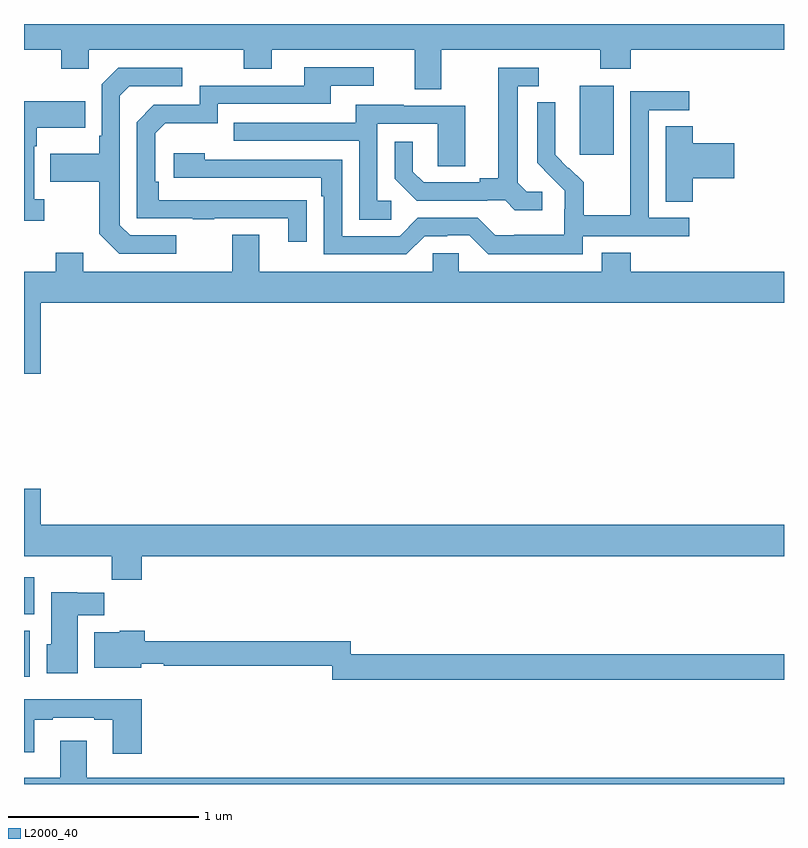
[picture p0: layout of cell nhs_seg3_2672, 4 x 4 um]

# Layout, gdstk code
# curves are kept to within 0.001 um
import gdstk
lib = gdstk.Library(unit=1e-6, precision=1e-09)
def R(c, l, rs):  # rectangles x0, y0, x1, y1
    for r in rs: c.add(gdstk.rectangle(r[:2], r[2:], *l))
def P(c, l, *ps):  # polygons
    for p in ps: c.add(gdstk.Polygon(p, *l))
L2000_40 = (2000, 40)

nhs_seg3_2672 = lib.new_cell('nhs_seg3_2672')
R(nhs_seg3_2672, L2000_40, [(249,682.964,249.031,683.206), (249,683.294,249.055,683.488), (251.924,685.713,252.103,686.074)])
P(nhs_seg3_2672, L2000_40, [(251.197,686.264),(252.034,686.264),(252.034,686.165),(252.194,686.165),(252.194,686.264),(253,686.264),(253,686.4),(249,686.4),(249,686.264),(249.196,686.264),(249.196,686.165),(249.342,686.165),(249.342,686.264),(250.156,686.264),(250.156,686.165),(250.303,686.165),(250.303,686.264),(251.057,686.264),(251.057,686.056),(251.197,686.056)],
  [(250.487,685.472),(249.71,685.473),(249.71,685.57),(249.69,685.57),(249.69,685.824),(249.743,685.877),(250.02,685.877),(250.02,685.98),(250.615,685.98),(250.615,686.076),(250.84,686.076),(250.84,686.172),(250.475,686.172),(250.475,686.076),(249.924,686.076),(249.924,685.974),(249.684,685.974),(249.594,685.884),(249.594,685.377),(249.889,685.377),(249.889,685.372),(250.001,685.372),(250.001,685.377),(250.391,685.377),(250.391,685.254),(250.487,685.254)],
  [(251.728,685.518),(251.646,685.518),(251.599,685.565),(251.599,686.073),(251.71,686.073),(251.71,686.169),(251.495,686.169),(251.495,685.589),(251.399,685.589),(251.399,685.566),(251.104,685.566),(251.047,685.623),(251.047,685.78),(250.95,685.78),(250.95,685.586),(251.066,685.47),(251.438,685.47),(251.438,685.473),(251.532,685.473),(251.584,685.421),(251.728,685.421)],
  [(249.802,685.287),(249.558,685.287),(249.504,685.341),(249.504,686.022),(249.555,686.073),(249.832,686.073),(249.832,686.169),(249.495,686.169),(249.408,686.082),(249.408,685.813),(249.396,685.813),(249.396,685.717),(249.139,685.717),(249.139,685.57),(249.396,685.57),(249.396,685.297),(249.501,685.191),(249.802,685.191)],
  [(251.94,685.284),(252.502,685.284),(252.502,685.38),(252.288,685.38),(252.288,685.947),(252.502,685.947),(252.502,686.046),(252.192,686.046),(252.192,685.616),(252.19,685.616),(252.19,685.393),(251.945,685.393),(251.945,685.567),(251.868,685.644),(251.865,685.641),(251.795,685.712),(251.796,685.988),(251.7,685.988),(251.7,685.67),(251.846,685.522),(251.846,685.425),(251.844,685.425),(251.844,685.291),(251.581,685.291),(251.581,685.287),(251.481,685.287),(251.388,685.38),(251.073,685.38),(250.977,685.284),(250.674,685.284),(250.674,685.686),(249.95,685.686),(249.95,685.72),(249.789,685.72),(249.789,685.59),(250.565,685.59),(250.565,685.493),(250.578,685.493),(250.578,685.188),(251.013,685.188),(251.109,685.284),(251.228,685.284),(251.228,685.287),(251.343,685.287),(251.443,685.187),(251.94,685.187)],
  [(249.106,685.478),(249.054,685.478),(249.054,685.757),(249.067,685.757),(249.067,685.853),(249.323,685.853),(249.323,685.993),(249,685.993),(249,685.365),(249.106,685.365)],
  [(250.933,685.47),(250.86,685.47),(250.86,685.875),(251.178,685.875),(251.178,685.651),(251.323,685.651),(251.323,685.971),(250.999,685.971),(250.999,685.975),(250.745,685.975),(250.745,685.881),(250.105,685.881),(250.105,685.785),(250.764,685.785),(250.764,685.369),(250.933,685.369)],
  [(252.521,685.589),(252.739,685.589),(252.739,685.772),(252.521,685.772),(252.521,685.862),(252.377,685.862),(252.377,685.465),(252.521,685.465)],
  [(253,685.096),(252.194,685.096),(252.194,685.195),(252.041,685.195),(252.041,685.096),(251.289,685.096),(251.289,685.194),(251.151,685.194),(251.151,685.096),(250.237,685.096),(250.237,685.291),(250.097,685.291),(250.097,685.096),(249.313,685.096),(249.313,685.195),(249.166,685.195),(249.166,685.096),(249,685.096),(249,684.558),(249.088,684.558),(249.088,684.932),(253,684.932)],
  [(249.62,683.6),(253,683.6),(253,683.764),(249.088,683.764),(249.088,683.953),(249,683.953),(249,683.6),(249.463,683.6),(249.463,683.476),(249.62,683.476)],
  [(249.283,683.288),(249.422,683.288),(249.422,683.406),(249.279,683.406),(249.279,683.41),(249.143,683.41),(249.143,683.136),(249.119,683.136),(249.119,682.982),(249.283,682.982)],
  [(253,683.084),(250.719,683.084),(250.719,683.152),(249.636,683.152),(249.636,683.206),(249.504,683.206),(249.504,683.2),(249.371,683.2),(249.371,683.012),(249.618,683.012),(249.618,683.034),(249.736,683.034),(249.736,683.023),(250.623,683.023),(250.623,682.948),(253,682.948)],
  [(249.62,682.846),(249,682.846),(249,682.568),(249.055,682.568),(249.055,682.737),(249.151,682.737),(249.151,682.749),(249.371,682.749),(249.371,682.737),(249.467,682.737),(249.467,682.56),(249.62,682.56)],
  [(253,682.432),(249.331,682.432),(249.331,682.627),(249.191,682.627),(249.191,682.432),(249,682.432),(249,682.4),(253,682.4)])

lib.write_gds('nhs_seg3_2672.gds')
